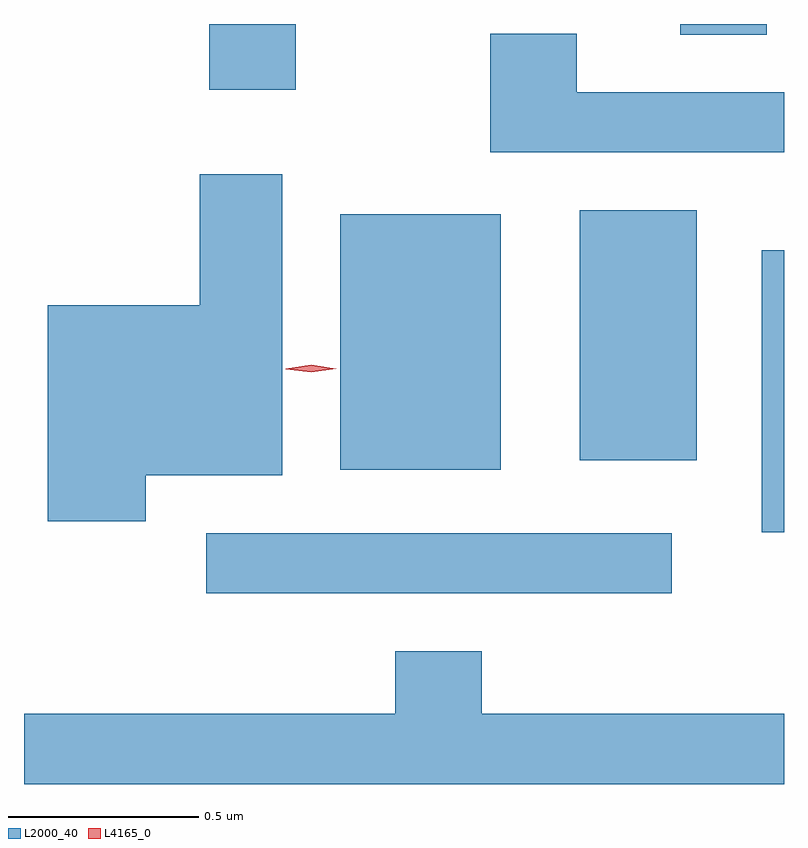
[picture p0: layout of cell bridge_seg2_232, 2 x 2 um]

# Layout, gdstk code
import gdstk
lib = gdstk.Library(unit=1e-6, precision=1e-09)
def R(c, l, rs):  # rectangles x0, y0, x1, y1
    for r in rs: c.add(gdstk.rectangle(r[:2], r[2:], *l))
def P(c, l, *ps):  # polygons
    for p in ps: c.add(gdstk.Polygon(p, *l))
L2000_40 = (2000, 40)
L4165_0 = (4165, 0)

bridge_seg2_232 = lib.new_cell('bridge_seg2_232')
R(bridge_seg2_232, L2000_40, [(590.863,1104.401,592.088,1104.559), (592.326,1104.561,592.384,1105.304), (591.216,1104.726,591.639,1105.399), (591.846,1104.751,592.154,1105.409), (590.871,1105.726,591.099,1105.899), (592.111,1105.871,592.339,1105.899)])
P(bridge_seg2_232, L2000_40, [(592.384,1105.719),(591.839,1105.719),(591.839,1105.874),(591.611,1105.874),(591.611,1105.561),(592.384,1105.561)],
  [(590.704,1104.711),(591.064,1104.711),(591.064,1105.504),(590.846,1105.504),(590.846,1105.159),(590.446,1105.159),(590.446,1104.591),(590.704,1104.591)],
  [(592.384,1104.084),(591.589,1104.084),(591.589,1104.249),(591.361,1104.249),(591.361,1104.084),(590.384,1104.084),(590.384,1103.899),(592.384,1103.899)])
P(bridge_seg2_232, L4165_0, [(591.14,1104.982),(591.073,1104.991),(591.073,1104.992),(591.073,1104.992),(591.14,1105.002),(591.206,1104.992),(591.206,1104.992),(591.206,1104.992)])

lib.write_gds('bridge_seg2_232.gds')
